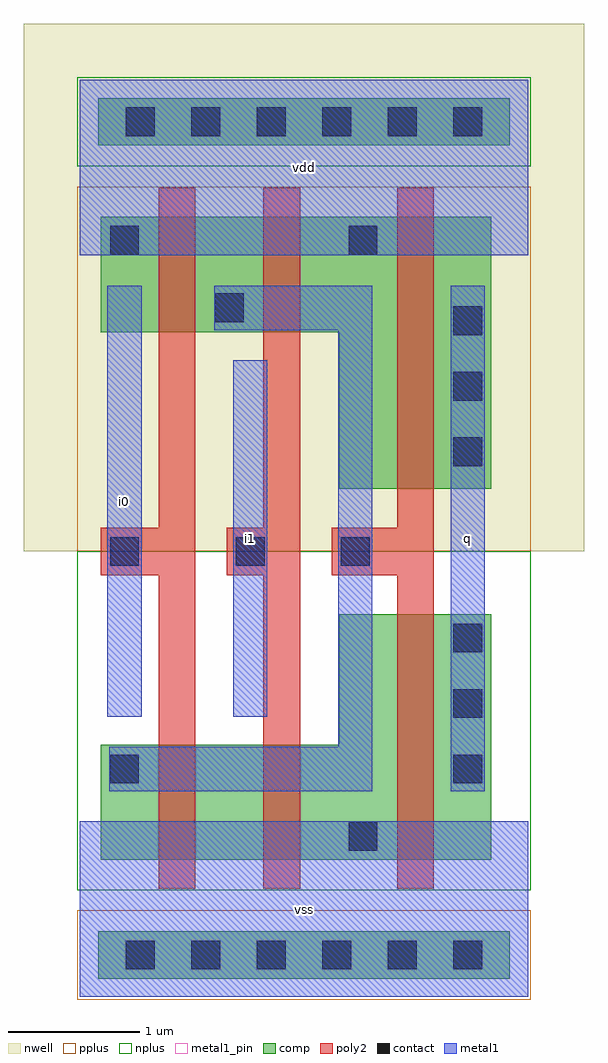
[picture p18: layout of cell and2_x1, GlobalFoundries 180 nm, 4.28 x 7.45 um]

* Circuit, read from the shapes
.subckt and2_x1 i0 i1 q vdd vss
XM1 n1 i0 n2 vss nfet_03v3 w=0.88u l=0.28u
XM2 vss i1 n1 vss nfet_03v3 w=0.88u l=0.28u
XM3 q n2 vss vss nfet_03v3 w=1.875u l=0.28u
XM4 n2 i0 vdd vdd pfet_03v3 w=0.88u l=0.28u
XM5 vdd i1 n2 vdd pfet_03v3 w=0.88u l=0.28u
XM6 q n2 vdd vdd pfet_03v3 w=2.075u l=0.28u
.ends

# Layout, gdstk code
import gdstk
lib = gdstk.Library(unit=1e-6, precision=1e-09)
def R(c, l, rs):  # rectangles x0, y0, x1, y1
    for r in rs: c.add(gdstk.rectangle(r[:2], r[2:], *l))
def A(c, l, x, y, w, h, nx, ny, dx, dy):  # array of equal rectangles
    R(c, l, [(x+i*dx, y+j*dy, x+i*dx+w, y+j*dy+h) for i in range(nx) for j in range(ny)])
def P(c, l, *ps):  # polygons
    for p in ps: c.add(gdstk.Polygon(p, *l))
nwell = (21, 0)
comp = (22, 0)
poly2 = (30, 0)
pplus = (31, 0)
nplus = (32, 0)
contact = (33, 0)
metal1 = (34, 0)
metal1_pin = (34, 10)

and2_x1 = lib.new_cell('and2_x1')
R(and2_x1, nwell, [(-0.43,3.4,3.85,7.43)])
R(and2_x1, comp, [(0.14,0.14,3.28,0.5), (0.14,6.5,3.28,6.86)])
P(and2_x1, comp, [(0.16,1.045),(0.16,1.925),(1.98,1.925),(1.98,2.92),(3.14,2.92),(3.14,1.045)],
  [(1.98,3.88),(1.98,5.075),(0.16,5.075),(0.16,5.955),(3.14,5.955),(3.14,3.88)])
P(and2_x1, poly2, [(2.42,0.825),(2.42,3.22),(1.92,3.22),(1.92,3.58),(2.42,3.58),(2.42,6.175),(2.7,6.175),(2.7,0.825)],
  [(0.6,0.825),(0.6,3.22),(0.16,3.22),(0.16,3.58),(0.6,3.58),(0.6,6.175),(0.88,6.175),(0.88,0.825)],
  [(1.4,0.825),(1.4,3.22),(1.12,3.22),(1.12,3.58),(1.4,3.58),(1.4,6.175),(1.68,6.175),(1.68,0.825)])
R(and2_x1, pplus, [(-0.02,-0.02,3.44,0.66), (-0.02,3.4,3.44,6.185)])
R(and2_x1, nplus, [(-0.02,0.815,3.44,3.4), (-0.02,6.34,3.44,7.02)])
A(and2_x1, contact, 0.35, 0.21, 0.22, 0.22, 6, 2, 0.5, 6.36)
A(and2_x1, contact, 2.85, 1.63, 0.22, 0.22, 1, 3, 0, 0.5)
A(and2_x1, contact, 2.85, 4.05, 0.22, 0.22, 1, 3, 0, 0.5)
R(and2_x1, contact, [(2.05,1.115,2.27,1.335), (0.23,1.63,0.45,1.85), (0.23,3.29,0.45,3.51), (1.19,3.29,1.41,3.51), (1.99,3.29,2.21,3.51), (1.03,5.15,1.25,5.37), (0.23,5.665,0.45,5.885), (2.05,5.665,2.27,5.885)])
R(and2_x1, metal1, [(0,0,3.42,1.34), (2.83,1.57,3.09,5.43), (0.21,2.14,0.47,5.43), (1.17,2.14,1.43,4.86), (0,5.66,3.42,7)])
P(and2_x1, metal1, [(0.225,1.57),(0.225,1.91),(1.97,1.91),(1.97,5.09),(1.025,5.09),(1.025,5.43),(2.23,5.43),(2.23,1.57)])
R(and2_x1, metal1_pin, [(0,0,3.42,1.34), (2.83,1.57,3.09,5.43), (0.21,2.14,0.47,5.43), (1.17,2.14,1.43,4.86), (0,5.66,3.42,7)])
and2_x1.add(gdstk.Label('vdd', (1.71,6.33), layer=34, texttype=10))
and2_x1.add(gdstk.Label('vss', (1.71,0.67), layer=34, texttype=10))
and2_x1.add(gdstk.Label('i0', (0.34,3.785), layer=34, texttype=10))
and2_x1.add(gdstk.Label('i1', (1.3,3.5), layer=34, texttype=10))
and2_x1.add(gdstk.Label('q', (2.96,3.5), layer=34, texttype=10))

lib.write_gds('and2_x1.gds')
